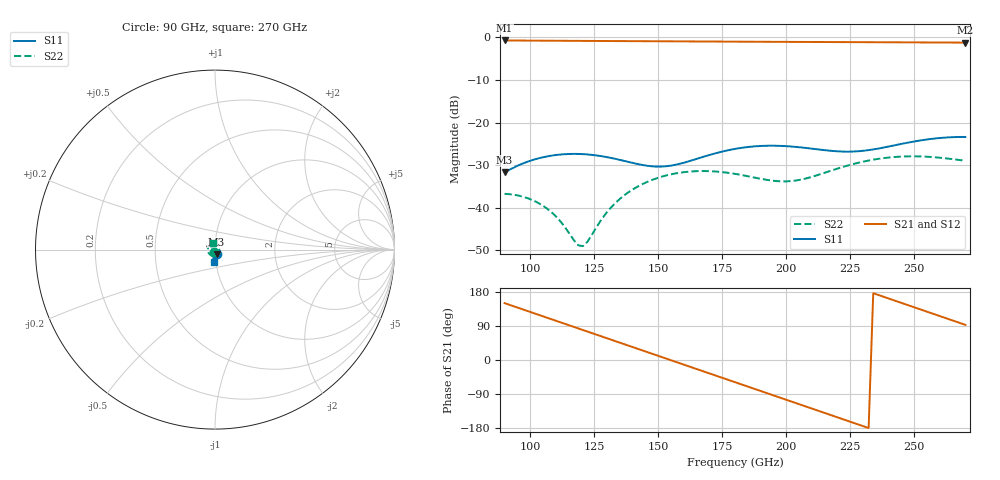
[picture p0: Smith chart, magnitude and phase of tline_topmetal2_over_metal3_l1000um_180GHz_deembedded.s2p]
! Created with skrf 2.0.1 (http://scikit-rf.org).
# GHz S DB R 50.0
!freq dBS11 angS11 dBS21 angS21 dBS12 angS12 dBS22 angS22
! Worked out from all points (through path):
!   101 points, 90 GHz to 270 GHz, reference 50 ohm
!   highest |S21| = -0.76 dB at 90 GHz (marker M1); lowest = -1.3 dB at 270 GHz (marker M2)
!   group delay of S21, straight-line fit = 6.44 ps
!   lowest |S11| = -31.7 dB at 90 GHz (marker M3), VSWR 1.05, Z = 50.8 - j2.48 ohm
!   |S11| at or under -10 dB: start of sweep to end of sweep
!   |S22| runs from -49.0 to -27.9 dB; largest |S21 - S12| = 1.1e-14
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90  -31.71 -70.0  -0.76 150.0  -0.76 150.0  -36.72 -109.9
99  -29.18 -75.5  -0.79 129.1  -0.79 129.1  -37.75 -133.7
106.2  -27.99 -83.1  -0.81 112.5  -0.81 112.5  -40.01 -157.6
111.6  -27.51 -89.3  -0.83 100.0  -0.83 100.0  -43.03 178.3
118.8  -27.37 -97.1  -0.85 83.3  -0.85 83.3  -48.79 112.5
120.6  -27.41 -98.9  -0.86 79.1  -0.86 79.1  -48.99 84.8
129.6  -28.07 -105.8  -0.89 58.3  -0.89 58.3  -41.31 0.6
135  -28.75 -107.5  -0.90 45.7  -0.90 45.7  -37.92 -23.7
144  -29.97 -103.9  -0.93 24.9  -0.93 24.9  -34.39 -56.9
151.2  -30.33 -95.4  -0.95 8.2  -0.95 8.2  -32.73 -81.7
158.4  -29.68 -86.6  -0.97 -8.5  -0.97 -8.5  -31.77 -106.6
165.6  -28.41 -82.2  -0.99 -25.2  -0.99 -25.2  -31.39 -132.2
180  -26.18 -85.6  -1.03 -58.6  -1.03 -58.6  -32.04 171.3
194.4  -25.43 -94.7  -1.07 -91.9  -1.07 -91.9  -33.61 99.9
201.6  -25.61 -98.3  -1.09 -108.6  -1.09 -108.6  -33.75 57.6
210.6  -26.17 -99.9  -1.11 -129.5  -1.11 -129.5  -32.63 5.5
219.6  -26.73 -97.0  -1.13 -150.3  -1.13 -150.3  -30.89 -39.9
226.8  -26.78 -91.9  -1.15 -167.0  -1.15 -167.0  -29.64 -72.0
234  -26.31 -86.9  -1.17 176.3  -1.17 176.3  -28.71 -101.9
241.2  -25.48 -84.2  -1.19 159.5  -1.19 159.5  -28.14 -130.7
257.4  -23.79 -87.3  -1.23 122.0  -1.23 122.0  -28.11 163.4
270  -23.38 -93.2  -1.26 92.7  -1.26 92.7  -28.96 106.4
